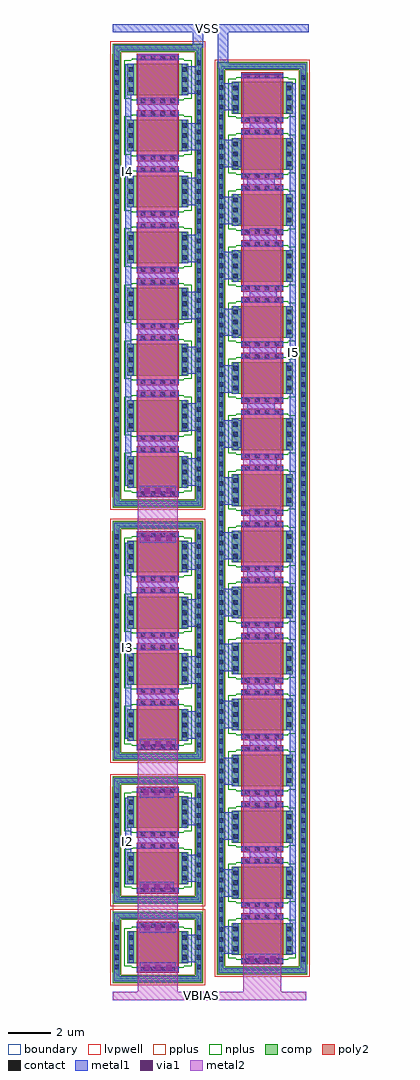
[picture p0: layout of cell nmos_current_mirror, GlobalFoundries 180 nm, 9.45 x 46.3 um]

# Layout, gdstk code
import gdstk
lib = gdstk.Library(unit=1e-6, precision=1e-09)
def R(c, l, rs):  # rectangles x0, y0, x1, y1
    for r in rs: c.add(gdstk.rectangle(r[:2], r[2:], *l))
def A(c, l, x, y, w, h, nx, ny, dx, dy):  # array of equal rectangles
    R(c, l, [(x+i*dx, y+j*dy, x+i*dx+w, y+j*dy+h) for i in range(nx) for j in range(ny)])
boundary = (0, 0)
comp = (22, 0)
poly2 = (30, 0)
pplus = (31, 0)
nplus = (32, 0)
contact = (33, 0)
metal1 = (34, 0)
via1 = (35, 0)
metal2 = (36, 0)
lvpwell = (204, 0)

nfet_03v3_7uvyqz = lib.new_cell('nfet_03v3_7UVYQZ')
R(nfet_03v3_7uvyqz, boundary, [(-1.95,-21.45,1.95,21.45)])
A(nfet_03v3_7uvyqz, comp, -1.44, -20.7, 2.88, 1.5, 1, 16, 0, 2.66)
R(nfet_03v3_7uvyqz, comp, [(-2.13,-21.63,2.13,-21.27), (-2.13,-21.27,-1.77,21.27), (1.77,-21.27,2.13,21.27), (-2.13,21.27,2.13,21.63)])
A(nfet_03v3_7uvyqz, poly2, -1, -21.16, 2, 2.42, 1, 16, 0, 2.66)
R(nfet_03v3_7uvyqz, pplus, [(-2.15,-21.65,2.15,-21.25), (-2.15,-21.25,-1.74,-21.145), (1.74,-21.25,2.15,-21.145), (-2.16,-21.145,-1.74,21.145), (1.74,-21.145,2.16,21.145), (-2.15,21.145,-1.74,21.25), (1.74,21.145,2.15,21.25), (-2.15,21.25,2.15,21.65)])
A(nfet_03v3_7uvyqz, nplus, -1.6, -20.86, 3.2, 1.82, 1, 16, 0, 2.66)
R(nfet_03v3_7uvyqz, nplus, [(-1.23,-20.93,1.23,-20.86), (-1.23,-19.04,1.23,-18.97), (-1.23,-18.27,1.23,-18.2), (-1.23,-16.38,1.23,-16.31), (-1.23,-15.61,1.23,-15.54), (-1.23,-13.72,1.23,-13.65), (-1.23,-12.95,1.23,-12.88), (-1.23,-11.06,1.23,-10.99), (-1.23,-10.29,1.23,-10.22), (-1.23,-8.4,1.23,-8.33), (-1.23,-7.63,1.23,-7.56), (-1.23,-5.74,1.23,-5.67), (-1.23,-4.97,1.23,-4.9), (-1.23,-3.08,1.23,-3.01), (-1.23,-2.31,1.23,-2.24), (-1.23,-0.42,1.23,-0.35), (-1.23,0.35,1.23,0.42), (-1.23,2.24,1.23,2.31), (-1.23,3.01,1.23,3.08), (-1.23,4.9,1.23,4.97), (-1.23,5.67,1.23,5.74), (-1.23,7.56,1.23,7.63), (-1.23,8.33,1.23,8.4), (-1.23,10.22,1.23,10.29), (-1.23,10.99,1.23,11.06), (-1.23,12.88,1.23,12.95), (-1.23,13.65,1.23,13.72), (-1.23,15.54,1.23,15.61), (-1.23,16.31,1.23,16.38), (-1.23,18.2,1.23,18.27), (-1.23,18.97,1.23,19.04), (-1.23,20.86,1.23,20.93)])
A(nfet_03v3_7uvyqz, contact, -0.815, -21.09, 0.22, 0.22, 4, 2, 0.47, 2.06)
A(nfet_03v3_7uvyqz, contact, -2.06, -21.025, 0.22, 0.22, 1, 90, 0, 0.47)
A(nfet_03v3_7uvyqz, contact, 1.84, -21.025, 0.22, 0.22, 1, 90, 0, 0.47)
A(nfet_03v3_7uvyqz, contact, -1.37, -20.53, 0.22, 0.22, 1, 3, 0, 0.47)
A(nfet_03v3_7uvyqz, contact, 1.15, -20.53, 0.22, 0.22, 1, 3, 0, 0.47)
A(nfet_03v3_7uvyqz, contact, -0.815, -18.43, 0.22, 0.22, 4, 2, 0.47, 2.06)
A(nfet_03v3_7uvyqz, contact, -1.37, -17.87, 0.22, 0.22, 1, 3, 0, 0.47)
A(nfet_03v3_7uvyqz, contact, 1.15, -17.87, 0.22, 0.22, 1, 3, 0, 0.47)
A(nfet_03v3_7uvyqz, contact, -0.815, -15.77, 0.22, 0.22, 4, 2, 0.47, 2.06)
A(nfet_03v3_7uvyqz, contact, -1.37, -15.21, 0.22, 0.22, 1, 3, 0, 0.47)
A(nfet_03v3_7uvyqz, contact, 1.15, -15.21, 0.22, 0.22, 1, 3, 0, 0.47)
A(nfet_03v3_7uvyqz, contact, -0.815, -13.11, 0.22, 0.22, 4, 2, 0.47, 2.06)
A(nfet_03v3_7uvyqz, contact, -1.37, -12.55, 0.22, 0.22, 1, 3, 0, 0.47)
A(nfet_03v3_7uvyqz, contact, 1.15, -12.55, 0.22, 0.22, 1, 3, 0, 0.47)
A(nfet_03v3_7uvyqz, contact, -0.815, -10.45, 0.22, 0.22, 4, 2, 0.47, 2.06)
A(nfet_03v3_7uvyqz, contact, -1.37, -9.89, 0.22, 0.22, 1, 3, 0, 0.47)
A(nfet_03v3_7uvyqz, contact, 1.15, -9.89, 0.22, 0.22, 1, 3, 0, 0.47)
A(nfet_03v3_7uvyqz, contact, -0.815, -7.79, 0.22, 0.22, 4, 2, 0.47, 2.06)
A(nfet_03v3_7uvyqz, contact, -1.37, -7.23, 0.22, 0.22, 1, 3, 0, 0.47)
A(nfet_03v3_7uvyqz, contact, 1.15, -7.23, 0.22, 0.22, 1, 3, 0, 0.47)
A(nfet_03v3_7uvyqz, contact, -0.815, -5.13, 0.22, 0.22, 4, 2, 0.47, 2.06)
A(nfet_03v3_7uvyqz, contact, -1.37, -4.57, 0.22, 0.22, 1, 3, 0, 0.47)
A(nfet_03v3_7uvyqz, contact, 1.15, -4.57, 0.22, 0.22, 1, 3, 0, 0.47)
A(nfet_03v3_7uvyqz, contact, -0.815, -2.47, 0.22, 0.22, 4, 2, 0.47, 2.06)
A(nfet_03v3_7uvyqz, contact, -1.37, -1.91, 0.22, 0.22, 1, 3, 0, 0.47)
A(nfet_03v3_7uvyqz, contact, 1.15, -1.91, 0.22, 0.22, 1, 3, 0, 0.47)
A(nfet_03v3_7uvyqz, contact, -0.815, 0.19, 0.22, 0.22, 4, 2, 0.47, 2.06)
A(nfet_03v3_7uvyqz, contact, -1.37, 0.75, 0.22, 0.22, 1, 3, 0, 0.47)
A(nfet_03v3_7uvyqz, contact, 1.15, 0.75, 0.22, 0.22, 1, 3, 0, 0.47)
A(nfet_03v3_7uvyqz, contact, -0.815, 2.85, 0.22, 0.22, 4, 2, 0.47, 2.06)
A(nfet_03v3_7uvyqz, contact, -1.37, 3.41, 0.22, 0.22, 1, 3, 0, 0.47)
A(nfet_03v3_7uvyqz, contact, 1.15, 3.41, 0.22, 0.22, 1, 3, 0, 0.47)
A(nfet_03v3_7uvyqz, contact, -0.815, 5.51, 0.22, 0.22, 4, 2, 0.47, 2.06)
A(nfet_03v3_7uvyqz, contact, -1.37, 6.07, 0.22, 0.22, 1, 3, 0, 0.47)
A(nfet_03v3_7uvyqz, contact, 1.15, 6.07, 0.22, 0.22, 1, 3, 0, 0.47)
A(nfet_03v3_7uvyqz, contact, -0.815, 8.17, 0.22, 0.22, 4, 2, 0.47, 2.06)
A(nfet_03v3_7uvyqz, contact, -1.37, 8.73, 0.22, 0.22, 1, 3, 0, 0.47)
A(nfet_03v3_7uvyqz, contact, 1.15, 8.73, 0.22, 0.22, 1, 3, 0, 0.47)
A(nfet_03v3_7uvyqz, contact, -0.815, 10.83, 0.22, 0.22, 4, 2, 0.47, 2.06)
A(nfet_03v3_7uvyqz, contact, -1.37, 11.39, 0.22, 0.22, 1, 3, 0, 0.47)
A(nfet_03v3_7uvyqz, contact, 1.15, 11.39, 0.22, 0.22, 1, 3, 0, 0.47)
A(nfet_03v3_7uvyqz, contact, -0.815, 13.49, 0.22, 0.22, 4, 2, 0.47, 2.06)
A(nfet_03v3_7uvyqz, contact, -1.37, 14.05, 0.22, 0.22, 1, 3, 0, 0.47)
A(nfet_03v3_7uvyqz, contact, 1.15, 14.05, 0.22, 0.22, 1, 3, 0, 0.47)
A(nfet_03v3_7uvyqz, contact, -0.815, 16.15, 0.22, 0.22, 4, 2, 0.47, 2.06)
A(nfet_03v3_7uvyqz, contact, -1.37, 16.71, 0.22, 0.22, 1, 3, 0, 0.47)
A(nfet_03v3_7uvyqz, contact, 1.15, 16.71, 0.22, 0.22, 1, 3, 0, 0.47)
A(nfet_03v3_7uvyqz, contact, -0.815, 18.81, 0.22, 0.22, 4, 2, 0.47, 2.06)
A(nfet_03v3_7uvyqz, contact, -1.37, 19.37, 0.22, 0.22, 1, 3, 0, 0.47)
A(nfet_03v3_7uvyqz, contact, 1.15, 19.37, 0.22, 0.22, 1, 3, 0, 0.47)
A(nfet_03v3_7uvyqz, metal1, -1.375, -20.69, 0.23, 1.48, 1, 16, 0, 2.66)
A(nfet_03v3_7uvyqz, metal1, 1.145, -20.69, 0.23, 1.48, 1, 16, 0, 2.66)
R(nfet_03v3_7uvyqz, metal1, [(-2.065,-21.565,2.065,-21.335), (-2.065,-21.335,-1.835,21.335), (1.835,-21.335,2.065,21.335), (-0.99,-21.095,0.99,-20.865), (-0.99,-19.035,0.99,-18.805), (-0.99,-18.435,0.99,-18.205), (-0.99,-16.375,0.99,-16.145), (-0.99,-15.775,0.99,-15.545), (-0.99,-13.715,0.99,-13.485), (-0.99,-13.115,0.99,-12.885), (-0.99,-11.055,0.99,-10.825), (-0.99,-10.455,0.99,-10.225), (-0.99,-8.395,0.99,-8.165), (-0.99,-7.795,0.99,-7.565), (-0.99,-5.735,0.99,-5.505), (-0.99,-5.135,0.99,-4.905), (-0.99,-3.075,0.99,-2.845), (-0.99,-2.475,0.99,-2.245), (-0.99,-0.415,0.99,-0.185), (-0.99,0.185,0.99,0.415), (-0.99,2.245,0.99,2.475), (-0.99,2.845,0.99,3.075), (-0.99,4.905,0.99,5.135), (-0.99,5.505,0.99,5.735), (-0.99,7.565,0.99,7.795), (-0.99,8.165,0.99,8.395), (-0.99,10.225,0.99,10.455), (-0.99,10.825,0.99,11.055), (-0.99,12.885,0.99,13.115), (-0.99,13.485,0.99,13.715), (-0.99,15.545,0.99,15.775), (-0.99,16.145,0.99,16.375), (-0.99,18.205,0.99,18.435), (-0.99,18.805,0.99,19.035), (-0.99,20.865,0.99,21.095), (-2.065,21.335,2.065,21.565)])
R(nfet_03v3_7uvyqz, lvpwell, [(-2.25,-21.75,2.25,21.75)])

nfet_03v3_3rv28f = lib.new_cell('nfet_03v3_3RV28F')
R(nfet_03v3_3rv28f, boundary, [(-1.95,-10.81,1.95,10.81)])
A(nfet_03v3_3rv28f, comp, -1.44, -10.06, 2.88, 1.5, 1, 8, 0, 2.66)
R(nfet_03v3_3rv28f, comp, [(-2.13,-10.99,2.13,-10.63), (-2.13,-10.63,-1.77,10.63), (1.77,-10.63,2.13,10.63), (-2.13,10.63,2.13,10.99)])
A(nfet_03v3_3rv28f, poly2, -1, -10.52, 2, 2.42, 1, 8, 0, 2.66)
R(nfet_03v3_3rv28f, pplus, [(-2.15,-11.01,2.15,-10.61), (-2.15,-10.61,-1.74,-10.505), (1.74,-10.61,2.15,-10.505), (-2.16,-10.505,-1.74,10.505), (1.74,-10.505,2.16,10.505), (-2.15,10.505,-1.74,10.61), (1.74,10.505,2.15,10.61), (-2.15,10.61,2.15,11.01)])
A(nfet_03v3_3rv28f, nplus, -1.6, -10.22, 3.2, 1.82, 1, 8, 0, 2.66)
R(nfet_03v3_3rv28f, nplus, [(-1.23,-10.29,1.23,-10.22), (-1.23,-8.4,1.23,-8.33), (-1.23,-7.63,1.23,-7.56), (-1.23,-5.74,1.23,-5.67), (-1.23,-4.97,1.23,-4.9), (-1.23,-3.08,1.23,-3.01), (-1.23,-2.31,1.23,-2.24), (-1.23,-0.42,1.23,-0.35), (-1.23,0.35,1.23,0.42), (-1.23,2.24,1.23,2.31), (-1.23,3.01,1.23,3.08), (-1.23,4.9,1.23,4.97), (-1.23,5.67,1.23,5.74), (-1.23,7.56,1.23,7.63), (-1.23,8.33,1.23,8.4), (-1.23,10.22,1.23,10.29)])
A(nfet_03v3_3rv28f, contact, -0.815, -10.45, 0.22, 0.22, 4, 2, 0.47, 2.06)
A(nfet_03v3_3rv28f, contact, -2.06, -10.215, 0.22, 0.22, 1, 44, 0, 0.47)
A(nfet_03v3_3rv28f, contact, 1.84, -10.215, 0.22, 0.22, 1, 44, 0, 0.47)
A(nfet_03v3_3rv28f, contact, -1.37, -9.89, 0.22, 0.22, 1, 3, 0, 0.47)
A(nfet_03v3_3rv28f, contact, 1.15, -9.89, 0.22, 0.22, 1, 3, 0, 0.47)
A(nfet_03v3_3rv28f, contact, -0.815, -7.79, 0.22, 0.22, 4, 2, 0.47, 2.06)
A(nfet_03v3_3rv28f, contact, -1.37, -7.23, 0.22, 0.22, 1, 3, 0, 0.47)
A(nfet_03v3_3rv28f, contact, 1.15, -7.23, 0.22, 0.22, 1, 3, 0, 0.47)
A(nfet_03v3_3rv28f, contact, -0.815, -5.13, 0.22, 0.22, 4, 2, 0.47, 2.06)
A(nfet_03v3_3rv28f, contact, -1.37, -4.57, 0.22, 0.22, 1, 3, 0, 0.47)
A(nfet_03v3_3rv28f, contact, 1.15, -4.57, 0.22, 0.22, 1, 3, 0, 0.47)
A(nfet_03v3_3rv28f, contact, -0.815, -2.47, 0.22, 0.22, 4, 2, 0.47, 2.06)
A(nfet_03v3_3rv28f, contact, -1.37, -1.91, 0.22, 0.22, 1, 3, 0, 0.47)
A(nfet_03v3_3rv28f, contact, 1.15, -1.91, 0.22, 0.22, 1, 3, 0, 0.47)
A(nfet_03v3_3rv28f, contact, -0.815, 0.19, 0.22, 0.22, 4, 2, 0.47, 2.06)
A(nfet_03v3_3rv28f, contact, -1.37, 0.75, 0.22, 0.22, 1, 3, 0, 0.47)
A(nfet_03v3_3rv28f, contact, 1.15, 0.75, 0.22, 0.22, 1, 3, 0, 0.47)
A(nfet_03v3_3rv28f, contact, -0.815, 2.85, 0.22, 0.22, 4, 2, 0.47, 2.06)
A(nfet_03v3_3rv28f, contact, -1.37, 3.41, 0.22, 0.22, 1, 3, 0, 0.47)
A(nfet_03v3_3rv28f, contact, 1.15, 3.41, 0.22, 0.22, 1, 3, 0, 0.47)
A(nfet_03v3_3rv28f, contact, -0.815, 5.51, 0.22, 0.22, 4, 2, 0.47, 2.06)
A(nfet_03v3_3rv28f, contact, -1.37, 6.07, 0.22, 0.22, 1, 3, 0, 0.47)
A(nfet_03v3_3rv28f, contact, 1.15, 6.07, 0.22, 0.22, 1, 3, 0, 0.47)
A(nfet_03v3_3rv28f, contact, -0.815, 8.17, 0.22, 0.22, 4, 2, 0.47, 2.06)
A(nfet_03v3_3rv28f, contact, -1.37, 8.73, 0.22, 0.22, 1, 3, 0, 0.47)
A(nfet_03v3_3rv28f, contact, 1.15, 8.73, 0.22, 0.22, 1, 3, 0, 0.47)
A(nfet_03v3_3rv28f, metal1, -1.375, -10.05, 0.23, 1.48, 1, 8, 0, 2.66)
A(nfet_03v3_3rv28f, metal1, 1.145, -10.05, 0.23, 1.48, 1, 8, 0, 2.66)
R(nfet_03v3_3rv28f, metal1, [(-2.065,-10.925,2.065,-10.695), (-2.065,-10.695,-1.835,10.695), (1.835,-10.695,2.065,10.695), (-0.99,-10.455,0.99,-10.225), (-0.99,-8.395,0.99,-8.165), (-0.99,-7.795,0.99,-7.565), (-0.99,-5.735,0.99,-5.505), (-0.99,-5.135,0.99,-4.905), (-0.99,-3.075,0.99,-2.845), (-0.99,-2.475,0.99,-2.245), (-0.99,-0.415,0.99,-0.185), (-0.99,0.185,0.99,0.415), (-0.99,2.245,0.99,2.475), (-0.99,2.845,0.99,3.075), (-0.99,4.905,0.99,5.135), (-0.99,5.505,0.99,5.735), (-0.99,7.565,0.99,7.795), (-0.99,8.165,0.99,8.395), (-0.99,10.225,0.99,10.455), (-2.065,10.695,2.065,10.925)])
R(nfet_03v3_3rv28f, lvpwell, [(-2.25,-11.11,2.25,11.11)])

nfet_03v3_3rrb8f = lib.new_cell('nfet_03v3_3RRB8F')
R(nfet_03v3_3rrb8f, boundary, [(-1.95,-5.49,1.95,5.49)])
A(nfet_03v3_3rrb8f, comp, -1.44, -4.74, 2.88, 1.5, 1, 4, 0, 2.66)
R(nfet_03v3_3rrb8f, comp, [(-2.13,-5.67,2.13,-5.31), (-2.13,-5.31,-1.77,5.31), (1.77,-5.31,2.13,5.31), (-2.13,5.31,2.13,5.67)])
A(nfet_03v3_3rrb8f, poly2, -1, -5.2, 2, 2.42, 1, 4, 0, 2.66)
R(nfet_03v3_3rrb8f, pplus, [(-2.15,-5.69,2.15,-5.29), (-2.15,-5.29,-1.74,-5.185), (1.74,-5.29,2.15,-5.185), (-2.16,-5.185,-1.74,5.185), (1.74,-5.185,2.16,5.185), (-2.15,5.185,-1.74,5.29), (1.74,5.185,2.15,5.29), (-2.15,5.29,2.15,5.69)])
A(nfet_03v3_3rrb8f, nplus, -1.6, -4.9, 3.2, 1.82, 1, 4, 0, 2.66)
R(nfet_03v3_3rrb8f, nplus, [(-1.23,-4.97,1.23,-4.9), (-1.23,-3.08,1.23,-3.01), (-1.23,-2.31,1.23,-2.24), (-1.23,-0.42,1.23,-0.35), (-1.23,0.35,1.23,0.42), (-1.23,2.24,1.23,2.31), (-1.23,3.01,1.23,3.08), (-1.23,4.9,1.23,4.97)])
A(nfet_03v3_3rrb8f, contact, -0.815, -5.13, 0.22, 0.22, 4, 2, 0.47, 2.06)
A(nfet_03v3_3rrb8f, contact, -2.06, -5.045, 0.22, 0.22, 1, 22, 0, 0.47)
A(nfet_03v3_3rrb8f, contact, 1.84, -5.045, 0.22, 0.22, 1, 22, 0, 0.47)
A(nfet_03v3_3rrb8f, contact, -1.37, -4.57, 0.22, 0.22, 1, 3, 0, 0.47)
A(nfet_03v3_3rrb8f, contact, 1.15, -4.57, 0.22, 0.22, 1, 3, 0, 0.47)
A(nfet_03v3_3rrb8f, contact, -0.815, -2.47, 0.22, 0.22, 4, 2, 0.47, 2.06)
A(nfet_03v3_3rrb8f, contact, -1.37, -1.91, 0.22, 0.22, 1, 3, 0, 0.47)
A(nfet_03v3_3rrb8f, contact, 1.15, -1.91, 0.22, 0.22, 1, 3, 0, 0.47)
A(nfet_03v3_3rrb8f, contact, -0.815, 0.19, 0.22, 0.22, 4, 2, 0.47, 2.06)
A(nfet_03v3_3rrb8f, contact, -1.37, 0.75, 0.22, 0.22, 1, 3, 0, 0.47)
A(nfet_03v3_3rrb8f, contact, 1.15, 0.75, 0.22, 0.22, 1, 3, 0, 0.47)
A(nfet_03v3_3rrb8f, contact, -0.815, 2.85, 0.22, 0.22, 4, 2, 0.47, 2.06)
A(nfet_03v3_3rrb8f, contact, -1.37, 3.41, 0.22, 0.22, 1, 3, 0, 0.47)
A(nfet_03v3_3rrb8f, contact, 1.15, 3.41, 0.22, 0.22, 1, 3, 0, 0.47)
A(nfet_03v3_3rrb8f, metal1, -1.375, -4.73, 0.23, 1.48, 1, 4, 0, 2.66)
A(nfet_03v3_3rrb8f, metal1, 1.145, -4.73, 0.23, 1.48, 1, 4, 0, 2.66)
R(nfet_03v3_3rrb8f, metal1, [(-2.065,-5.605,2.065,-5.375), (-2.065,-5.375,-1.835,5.375), (1.835,-5.375,2.065,5.375), (-0.99,-5.135,0.99,-4.905), (-0.99,-3.075,0.99,-2.845), (-0.99,-2.475,0.99,-2.245), (-0.99,-0.415,0.99,-0.185), (-0.99,0.185,0.99,0.415), (-0.99,2.245,0.99,2.475), (-0.99,2.845,0.99,3.075), (-0.99,4.905,0.99,5.135), (-2.065,5.375,2.065,5.605)])
R(nfet_03v3_3rrb8f, lvpwell, [(-2.25,-5.79,2.25,5.79)])

nfet_03v3_3rqb8f = lib.new_cell('nfet_03v3_3RQB8F')
R(nfet_03v3_3rqb8f, boundary, [(-1.95,-1.5,1.95,1.5)])
R(nfet_03v3_3rqb8f, comp, [(-2.13,-1.68,2.13,-1.32), (-2.13,-1.32,-1.77,1.32), (1.77,-1.32,2.13,1.32), (-1.44,-0.75,1.44,0.75), (-2.13,1.32,2.13,1.68)])
R(nfet_03v3_3rqb8f, poly2, [(-1,-1.21,1,1.21)])
R(nfet_03v3_3rqb8f, pplus, [(-2.15,-1.7,2.15,-1.3), (-2.15,-1.3,-1.74,-1.195), (1.74,-1.3,2.15,-1.195), (-2.16,-1.195,-1.74,1.195), (1.74,-1.195,2.16,1.195), (-2.15,1.195,-1.74,1.3), (1.74,1.195,2.15,1.3), (-2.15,1.3,2.15,1.7)])
R(nfet_03v3_3rqb8f, nplus, [(-1.23,-0.98,1.23,-0.91), (-1.6,-0.91,1.6,0.91), (-1.23,0.91,1.23,0.98)])
A(nfet_03v3_3rqb8f, contact, -0.815, -1.14, 0.22, 0.22, 4, 2, 0.47, 2.06)
A(nfet_03v3_3rqb8f, contact, -2.06, -1.05, 0.22, 0.22, 1, 5, 0, 0.47)
A(nfet_03v3_3rqb8f, contact, 1.84, -1.05, 0.22, 0.22, 1, 5, 0, 0.47)
A(nfet_03v3_3rqb8f, contact, -1.37, -0.58, 0.22, 0.22, 1, 3, 0, 0.47)
A(nfet_03v3_3rqb8f, contact, 1.15, -0.58, 0.22, 0.22, 1, 3, 0, 0.47)
R(nfet_03v3_3rqb8f, metal1, [(-2.065,-1.615,2.065,-1.385), (-2.065,-1.385,-1.835,1.385), (1.835,-1.385,2.065,1.385), (-0.99,-1.145,0.99,-0.915), (-1.375,-0.74,-1.145,0.74), (1.145,-0.74,1.375,0.74), (-0.99,0.915,0.99,1.145), (-2.065,1.385,2.065,1.615)])
R(nfet_03v3_3rqb8f, lvpwell, [(-2.25,-1.8,2.25,1.8)])

nfet_03v3_3rpb8f = lib.new_cell('nfet_03v3_3RPB8F')
R(nfet_03v3_3rpb8f, boundary, [(-1.95,-2.83,1.95,2.83)])
R(nfet_03v3_3rpb8f, comp, [(-2.13,-3.01,2.13,-2.65), (-2.13,-2.65,-1.77,2.65), (1.77,-2.65,2.13,2.65), (-1.44,-2.08,1.44,-0.58), (-1.44,0.58,1.44,2.08), (-2.13,2.65,2.13,3.01)])
R(nfet_03v3_3rpb8f, poly2, [(-1,-2.54,1,-0.12), (-1,0.12,1,2.54)])
R(nfet_03v3_3rpb8f, pplus, [(-2.15,-3.03,2.15,-2.63), (-2.15,-2.63,-1.74,-2.525), (1.74,-2.63,2.15,-2.525), (-2.16,-2.525,-1.74,2.525), (1.74,-2.525,2.16,2.525), (-2.15,2.525,-1.74,2.63), (1.74,2.525,2.15,2.63), (-2.15,2.63,2.15,3.03)])
R(nfet_03v3_3rpb8f, nplus, [(-1.23,-2.31,1.23,-2.24), (-1.6,-2.24,1.6,-0.42), (-1.23,-0.42,1.23,-0.35), (-1.23,0.35,1.23,0.42), (-1.6,0.42,1.6,2.24), (-1.23,2.24,1.23,2.31)])
A(nfet_03v3_3rpb8f, contact, -0.815, -2.47, 0.22, 0.22, 4, 2, 0.47, 2.06)
A(nfet_03v3_3rpb8f, contact, -2.06, -2.225, 0.22, 0.22, 1, 10, 0, 0.47)
A(nfet_03v3_3rpb8f, contact, 1.84, -2.225, 0.22, 0.22, 1, 10, 0, 0.47)
A(nfet_03v3_3rpb8f, contact, -1.37, -1.91, 0.22, 0.22, 1, 3, 0, 0.47)
A(nfet_03v3_3rpb8f, contact, 1.15, -1.91, 0.22, 0.22, 1, 3, 0, 0.47)
A(nfet_03v3_3rpb8f, contact, -0.815, 0.19, 0.22, 0.22, 4, 2, 0.47, 2.06)
A(nfet_03v3_3rpb8f, contact, -1.37, 0.75, 0.22, 0.22, 1, 3, 0, 0.47)
A(nfet_03v3_3rpb8f, contact, 1.15, 0.75, 0.22, 0.22, 1, 3, 0, 0.47)
R(nfet_03v3_3rpb8f, metal1, [(-2.065,-2.945,2.065,-2.715), (-2.065,-2.715,-1.835,2.715), (1.835,-2.715,2.065,2.715), (-0.99,-2.475,0.99,-2.245), (-1.375,-2.07,-1.145,-0.59), (1.145,-2.07,1.375,-0.59), (-0.99,-0.415,0.99,-0.185), (-0.99,0.185,0.99,0.415), (-1.375,0.59,-1.145,2.07), (1.145,0.59,1.375,2.07), (-0.99,2.245,0.99,2.475), (-2.065,2.715,2.065,2.945)])
R(nfet_03v3_3rpb8f, lvpwell, [(-2.25,-3.13,2.25,3.13)])

nmos_current_mirror = lib.new_cell('nmos_current_mirror')
R(nmos_current_mirror, pplus, [(-0.3,3.1,4,3.45)])
A(nmos_current_mirror, metal1, 4.8, 1.1, 0.9, 1.3, 1, 3, 0, 2.7)
A(nmos_current_mirror, metal1, 4.8, 9.1, 0.9, 1.3, 1, 3, 0, 2.7)
A(nmos_current_mirror, metal1, 3, 13.9, 0.9, 1.3, 1, 3, 0, 2.7)
A(nmos_current_mirror, metal1, 4.9, 19.8, 0.9, 1.3, 1, 3, 0, 5.3)
A(nmos_current_mirror, metal1, 6.2, 29.3, 1.3, 0.8, 1, 3, 0, 2.7)
A(nmos_current_mirror, metal1, 3, 31.2, 0.9, 1.3, 1, 3, 0, 2.7)
A(nmos_current_mirror, metal1, 0.9, 32.8, 1.9, 0.8, 1, 3, 0, 2.7)
R(nmos_current_mirror, metal1, [(1,0.3,2.7,0.7), (3,0.7,3.9,2), (6,0.7,7.6,1.1), (8.1,1.1,8.4,42.4), (1,2.1,2.7,2.5), (6.2,2.7,7.5,3.5), (1,4.1,2.6,4.5), (0.3,4.4,0.6,8.5), (3,4.5,3.9,5.8), (6.2,5.4,7.5,6.2), (0.9,6.1,2.8,6.9), (3,7.2,3.9,8.5), (6.2,8,7.5,8.8), (1,8.5,2.6,8.8), (1.1,8.8,2.5,8.9), (6.2,10.7,7.5,11.5), (1,10.9,2.7,11.3), (0.3,11.3,0.6,19.3), (3,11.3,3.9,12.6), (0.9,12.9,2.8,13.7), (6.1,13.4,7.4,14.2), (0.9,15.5,2.8,16.3), (6.1,16,7.4,16.8), (4.9,17.1,5.8,18.4), (0.9,18.2,2.8,19), (6.1,18.7,7.4,19.5), (0.3,19.3,0.5,20.6), (1,20.6,2.7,21), (6.2,21.4,7.5,22.2), (4.8,22.4,5.7,23.7), (1,22.9,2.7,23.3), (0.3,23.3,0.6,43.3), (3,23.3,3.9,24.6), (6.2,24,7.5,24.8), (0.9,24.9,2.8,25.7), (3,25.9,3.9,27.2), (6.1,26.7,7.4,27.5), (0.9,27.5,2.8,28.3), (4.8,27.7,5.7,29), (3,28.6,3.9,29.9), (0.9,30.2,2.8,31), (4.9,33.1,5.8,34.4), (4.9,35.7,5.8,37), (6.1,37.3,7.4,38.1), (4.9,38.4,5.8,39.7), (3,39.2,3.9,40.5), (6.2,40,7.5,40.8), (0.9,40.8,2.8,41.7), (4.8,41.1,5.7,42.4), (3,41.9,3.9,43.2), (4.7,43.1,5.2,44.8), (3.7,43.7,3.9,44.1), (3.5,44.1,4,44.8), (-0.3,44.8,9,45.2)])
A(nmos_current_mirror, via1, 1.2, 0.32, 0.26, 0.26, 3, 2, 0.52, 1.9)
A(nmos_current_mirror, via1, 6.15, 0.72, 0.26, 0.26, 3, 1, 0.52, 0)
A(nmos_current_mirror, via1, 1.15, 4.12, 0.26, 0.26, 3, 2, 0.52, 4.5)
A(nmos_current_mirror, via1, 1.2, 10.92, 0.26, 0.26, 3, 2, 0.52, 9.8)
A(nmos_current_mirror, via1, 1.2, 22.92, 0.26, 0.26, 3, 1, 0.52, 0)
R(nmos_current_mirror, metal2, [(-0.3,-1.1,8.9,-0.7), (0.9,-0.7,2.8,43.8), (5.9,-0.7,7.7,42.8)])
A(nmos_current_mirror, lvpwell, 6.2, 29.3, 1.3, 0.8, 1, 3, 0, 2.7)
R(nmos_current_mirror, lvpwell, [(6.2,2.7,7.5,3.5), (6.2,5.4,7.5,6.2), (0.9,6.1,2.8,6.9), (6.2,8,7.5,8.8), (6.2,10.7,7.5,11.5), (0.9,12.9,2.8,13.7), (6.1,13.4,7.4,14.2), (0.9,15.5,2.8,16.3), (6.1,16,7.4,16.8), (0.9,18.2,2.8,19), (6.1,18.7,7.4,19.5), (6.2,21.4,7.5,22.2), (6.2,24,7.5,24.8), (0.9,24.9,2.8,25.7), (6.1,26.7,7.4,27.5), (0.9,27.5,2.8,28.3), (6.1,37.3,7.4,38.1), (6.2,40,7.5,40.8)])
nmos_current_mirror.add(gdstk.Reference(nfet_03v3_7uvyqz, (6.8,21.75)))
nmos_current_mirror.add(gdstk.Reference(nfet_03v3_3rv28f, (1.85,33.26)))
nmos_current_mirror.add(gdstk.Reference(nfet_03v3_3rrb8f, (1.85,15.94)))
nmos_current_mirror.add(gdstk.Reference(nfet_03v3_3rqb8f, (1.85,1.4)))
nmos_current_mirror.add(gdstk.Reference(nfet_03v3_3rpb8f, (1.85,6.48)))
nmos_current_mirror.add(gdstk.Label('VSS', (4.2,45), layer=34, texttype=0))
nmos_current_mirror.add(gdstk.Label('I2', (0.4,6.4), layer=34, texttype=0))
nmos_current_mirror.add(gdstk.Label('I3', (0.4,15.6), layer=34, texttype=0))
nmos_current_mirror.add(gdstk.Label('I4', (0.4,38.2), layer=34, texttype=0))
nmos_current_mirror.add(gdstk.Label('I5', (8.3,29.6), layer=34, texttype=0))
nmos_current_mirror.add(gdstk.Label('VBIAS', (3.9,-0.9), layer=36, texttype=0))

lib.write_gds('nmos_current_mirror.gds')
